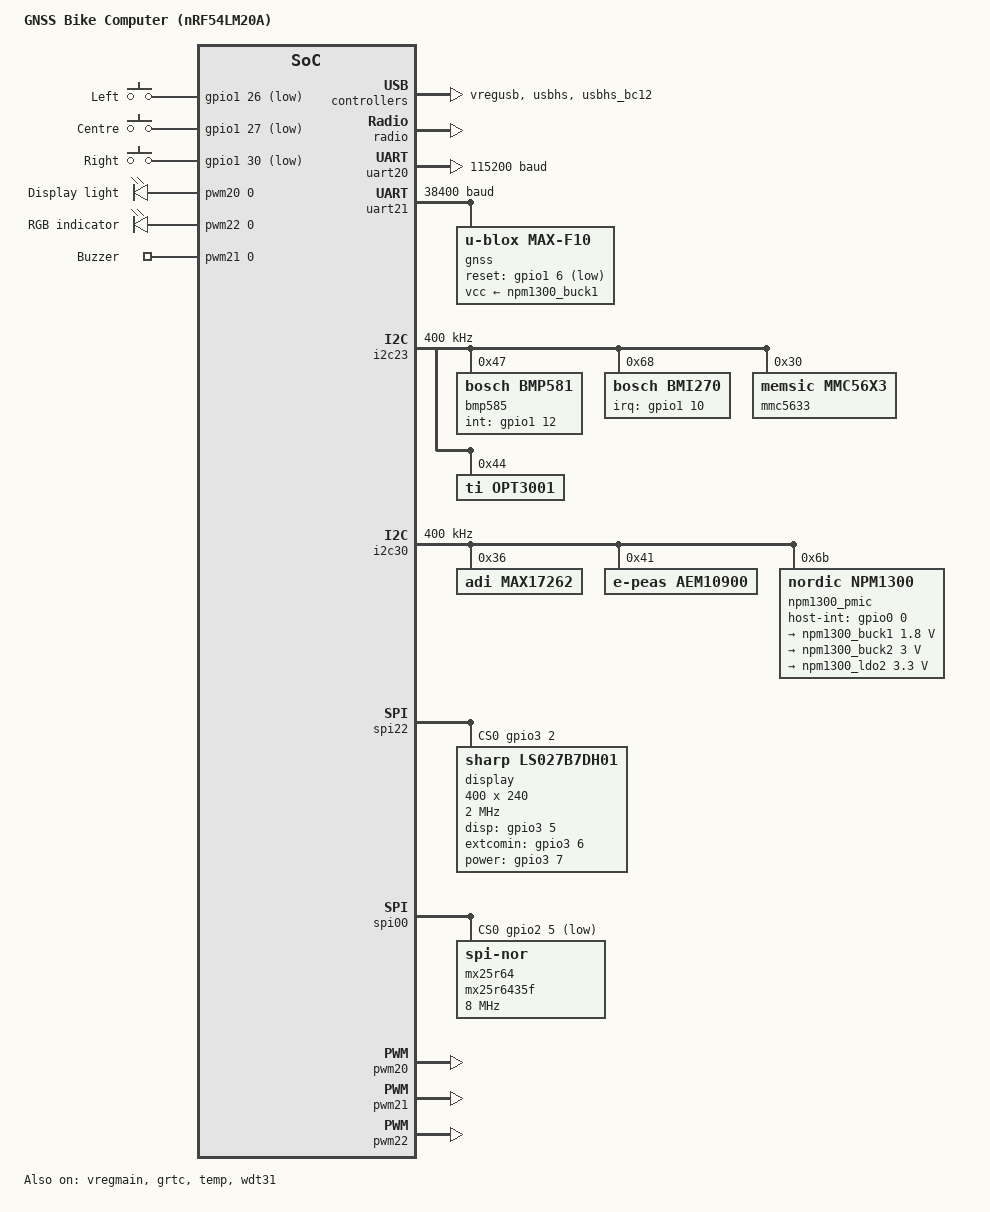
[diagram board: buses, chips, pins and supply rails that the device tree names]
/*
 * GNSS Bike Computer: the board of the project, with the nRF54LM20A on the
 * Fanstel BM20C module.
 *
 * Until now the firmware only had an overlay for the nRF54LM20 DK, which
 * puts the peripherals of this board on free pins of a development kit so
 * evaluation boards can be wired to them. This is the board itself: every
 * device the rider's computer carries, on the pins it carries them on.
 *
 * The specification it follows is `docs/14-hardware-placa-nova.md`; the pin
 * map and the two rules of the part that shape it are in
 * `gnssbike-pinctrl.dtsi`.
 *
 * > **Nothing here has been built.** The board has no schematic yet and no
 * > unit exists. What this file gives is a target that compiles and a pin
 * > map that satisfies every rule of the silicon, to be reconciled with the
 * > pinout of the BM20C module when that arrives: the module either brings
 * > a pin out or it does not, and only its own drawing says which.
 */

/dts-v1/;

#include <nordic/nrf54lm20a_cpuapp.dtsi>
#include <vendor/nordic/nrf54lm20a_cpuapp_partition.dtsi>
#include <zephyr/dt-bindings/input/input-event-codes.h>
#include <zephyr/dt-bindings/regulator/npm13xx.h>
#include <zephyr/dt-bindings/sensor/bmp581.h>
#include <zephyr/dt-bindings/pwm/pwm.h>
#include "gnssbike-pinctrl.dtsi"

/ {
	compatible = "gnss,gnssbike-nrf54lm20a-cpuapp";
	model = "GNSS Bike Computer (nRF54LM20A)";

	chosen {
		zephyr,code-partition = &slot0_partition;
		zephyr,sram = &cpuapp_sram;
		zephyr,flash-controller = &rram_controller;
		zephyr,flash = &cpuapp_rram;
		/*
		 * The console lives on two test pads and nothing else: there is
		 * no connector on the case, and a rider never sees it.
		 */
		zephyr,console = &uart20;
		zephyr,shell-uart = &uart20;
		zephyr,uart-mcumgr = &uart20;
		zephyr,display = &display;
	};

	/*
	 * The services find their hardware by these names and leave out
	 * whatever does not answer (docs/16, Serviços).
	 */
	aliases {
		gnss = &gnss;
		baro0 = &bmp585;
		imu0 = &bmi270;
		mag0 = &mmc5633;
		light0 = &opt3001;
		backlight = &light_pwm;
		backlight-supply = &npm1300_ldo2;
		fuel-gauge0 = &max17262;
		pmic = &npm1300_pmic;
		pmic-charger = &npm1300_charger;
		pmic-regulators = &npm1300_regulators;
		solar-charger = &aem10900;
		watchdog0 = &wdt31;
		buzzer = &buzzer_pwm;
		led-rgb = &rgb_pwm;
	};

	/*
	 * The three keys of the case. The centre one also reaches the SHPHLD
	 * of the nPM1300, which is what turns the device on out of ship mode
	 * and is therefore the only wake source the case needs; these GPIOs
	 * are how the firmware reads the keys while it is running.
	 */
	keys: gpio_keys {
		compatible = "gpio-keys";

		key_left: key_left {
			gpios = <&gpio1 26 (GPIO_PULL_UP | GPIO_ACTIVE_LOW)>;
			label = "Left";
			zephyr,code = <INPUT_KEY_0>;
		};

		key_centre: key_centre {
			gpios = <&gpio1 27 (GPIO_PULL_UP | GPIO_ACTIVE_LOW)>;
			label = "Centre";
			zephyr,code = <INPUT_KEY_1>;
		};

		key_right: key_right {
			gpios = <&gpio1 30 (GPIO_PULL_UP | GPIO_ACTIVE_LOW)>;
			label = "Right";
			zephyr,code = <INPUT_KEY_2>;
		};
	};

	/*
	 * Short on release before 1 s, long after 1 s held (docs/18, Botões);
	 * the interface reads the codes of this node only.
	 */
	longpress: longpress {
		compatible = "zephyr,input-longpress";
		input = <&keys>;
		input-codes = <INPUT_KEY_0>, <INPUT_KEY_1>, <INPUT_KEY_2>;
		short-codes = <INPUT_KEY_LEFT>, <INPUT_KEY_ENTER>, <INPUT_KEY_RIGHT>;
		long-codes = <INPUT_KEY_HOME>, <INPUT_KEY_MENU>, <INPUT_KEY_END>;
		long-delay-ms = <1000>;
	};

	/* Front light of the display, dimmed by the light service */
	pwmleds {
		compatible = "pwm-leds";

		light_pwm: light_pwm {
			pwms = <&pwm20 0 PWM_MSEC(1) PWM_POLARITY_NORMAL>;
			label = "Display light";
		};

		rgb_pwm: rgb_pwm {
			pwms = <&pwm22 0 PWM_MSEC(1) PWM_POLARITY_NORMAL>;
			label = "RGB indicator";
		};

		buzzer_pwm: buzzer_pwm {
			pwms = <&pwm21 0 PWM_USEC(250) PWM_POLARITY_NORMAL>;
			label = "Buzzer";
		};
	};

};

&cpuapp_sram {
	status = "okay";
};

&hfpll {
	clock-frequency = <DT_FREQ_M(128)>;
};

/* The module carries the two crystals; load capacitors are internal */
&lfxo {
	load-capacitors = "internal";
	load-capacitance-femtofarad = <17000>;
};

&hfxo {
	load-capacitors = "internal";
	load-capacitance-femtofarad = <15000>;
};

&vregmain {
	status = "okay";
	regulator-initial-mode = <NRF5X_REG_MODE_DCDC>;
};

&vregusb {
	status = "okay";
};

&grtc {
	owned-channels = <0 1 2 3 4 5 6 7 8 9 10 11>;
	child-owned-channels = <3 4 7 8 9 10 11>;
	status = "okay";
};

&clock {
	status = "okay";
};

&radio {
	status = "okay";
};

&gpio0 {
	status = "okay";
};

&gpio1 {
	status = "okay";
};

&gpio2 {
	status = "okay";
};

&gpio3 {
	status = "okay";
};

&gpiote20 {
	status = "okay";
};

&gpiote30 {
	status = "okay";
};

temp_sensor: &temp {
	status = "okay";
};

/* Hardware watchdog behind the task watchdog of the services */
&wdt31 {
	status = "okay";
};

/*
 * ---- Console on the test pads ----
 *
 * Block 20, not block 30: each serial block of this part holds one
 * peripheral, and block 30 is the I2C of the power path below.
 */
&uart20 {
	status = "okay";
	current-speed = <115200>;
	pinctrl-0 = <&uart20_default>;
	pinctrl-1 = <&uart20_sleep>;
	pinctrl-names = "default", "sleep";
};

/*
 * ---- GNSS ----
 *
 * u-blox MAX-F10S, L1 and L5 at the same time (docs/15). The receiver runs
 * at 1.8 V and the MCU at 3.0 V, so a TXU0204 sits between them with its OE
 * tied to VCCA. The part leaves the factory at 38400 baud; the driver turns
 * NMEA off and asks for one UBX-NAV-PVT and one UBX-NAV-SAT a second. The
 * footprint also takes the MAX-M10N-10B, which has LEAP; the compatible is
 * what tells the two apart.
 *
 * P1.08 (EXTINT) and P1.09 (TIMEPULSE) are wired on the board and left out
 * of this node: the driver has no property for either, and a pin that the
 * firmware cannot reach does not belong in a devicetree. They are reserved
 * so a later revision can use them without moving anything.
 */
&uart21 {
	status = "okay";
	current-speed = <38400>;
	pinctrl-0 = <&uart21_default>;
	pinctrl-1 = <&uart21_sleep>;
	pinctrl-names = "default", "sleep";

	gnss: gnss {
		compatible = "u-blox,max-f10";
		fix-rate-ms = <1000>;
		dynamic-model = "portable";
		satellites-rate = <1>;
		/*
		 * RESET_N, open drain and active low. A reset clears the
		 * backup memory of the receiver, so the driver only holds
		 * the line and never pulses it on its own.
		 */
		reset-gpios = <&gpio1 6 (GPIO_ACTIVE_LOW | GPIO_OPEN_DRAIN)>;
		vcc-supply = <&npm1300_buck1>;
	};
};

/*
 * ---- Sensors ----
 *
 * No address collides and nothing scans the bus: 0x7E would put the
 * MMC5633NJL into I3C (docs/14, Barramentos e endereços).
 */
&i2c23 {
	status = "okay";
	clock-frequency = <I2C_BITRATE_FAST>;
	pinctrl-0 = <&i2c23_default>;
	pinctrl-1 = <&i2c23_sleep>;
	pinctrl-names = "default", "sleep";

	/* Bosch BMP585 (the BMP581 driver takes its chip ID); SDO high: 0x47 */
	bmp585: bmp585@47 {
		compatible = "bosch,bmp581";
		reg = <0x47>;
		power-mode = <BMP581_DT_MODE_NORMAL>;
		odr = <BMP581_DT_ODR_10_HZ>;
		press-osr = <BMP581_DT_OVERSAMPLING_8X>;
		temp-osr = <BMP581_DT_OVERSAMPLING_2X>;
		int-gpios = <&gpio1 12 GPIO_ACTIVE_HIGH>;
	};

	/* Bosch BMI270, SDO low: 0x68. The footprint also takes an LSM6DSV16X */
	bmi270: bmi270@68 {
		compatible = "bosch,bmi270";
		reg = <0x68>;
		irq-gpios = <&gpio1 10 GPIO_ACTIVE_HIGH>;
	};

	/* Memsic MMC5633NJL, fixed address; one measurement per fetch */
	mmc5633: mmc5633@30 {
		compatible = "memsic,mmc56x3";
		reg = <0x30>;
		magn-odr = <0>;
	};

	/* TI OPT3001 ambient light, ADDR low: 0x44 */
	opt3001: opt3001@44 {
		compatible = "ti,opt3001";
		reg = <0x44>;
	};
};

/*
 * ---- Energy ----
 *
 * The three parts of the power path share one bus on port P0: the nPM1300
 * at 0x6B, the MAX17262 gauge on the cell at 0x36 and the AEM10900 solar
 * harvester at 0x41 (docs/14, Alimentação). The USB blocks the solar charge
 * in hardware, through VBUSOUT, so no pin of the MCU is spent on it.
 */
&i2c30 {
	status = "okay";
	clock-frequency = <I2C_BITRATE_FAST>;
	pinctrl-0 = <&i2c30_default>;
	pinctrl-1 = <&i2c30_sleep>;
	pinctrl-names = "default", "sleep";

	/*
	 * MAX17262 on the 2000 mAh cell: the nPM1300 charges at 600 mA and
	 * ends at 10 % of it. TH is tied to BATT, so the temperature comes
	 * from the die and no thermistor is read here.
	 */
	max17262: fuel-gauge@36 {
		compatible = "adi,max17262";
		reg = <0x36>;
		design-capacity-mah = <2000>;
		charge-term-current-ma = <60>;
		charge-voltage-mv = <4200>;
	};

	/*
	 * AEM10900, I2C_ADDR tied to I2C_VDD. Its pins alone charge to 3.90 V;
	 * with the board running, this configuration takes it to 4.05 V.
	 */
	aem10900: charger@41 {
		compatible = "e-peas,aem10900";
		reg = <0x41>;
		charge-voltage-mv = <4050>;
	};

	npm1300_pmic: pmic@6b {
		compatible = "nordic,npm1300";
		reg = <0x6b>;
		host-int-gpios = <&gpio0 0 GPIO_ACTIVE_HIGH>;
		pmic-int-pin = <3>;

		npm1300_regulators: regulators {
			compatible = "nordic,npm1300-regulator";

			/*
			 * 1V8: the GNSS VCC and its V_IO. The V_IO absolute
			 * maximum is 1.98 V, so the voltage is locked.
			 */
			npm1300_buck1: BUCK1 {
				regulator-min-microvolt = <1800000>;
				regulator-max-microvolt = <1800000>;
				regulator-boot-on;
			};

			/* 3V0: the MCU, the display and the sensors */
			npm1300_buck2: BUCK2 {
				regulator-min-microvolt = <3000000>;
				regulator-max-microvolt = <3000000>;
				regulator-always-on;
			};

			/* Load switch of the microSD, on the prototype only */
			npm1300_ldo1: LDO1 {
				regulator-initial-mode = <NPM13XX_LDSW_MODE_LDSW>;
			};

			/* 3V3BL: the display light, on only while it is lit */
			npm1300_ldo2: LDO2 {
				regulator-initial-mode = <NPM13XX_LDSW_MODE_LDO>;
				regulator-min-microvolt = <3300000>;
				regulator-max-microvolt = <3300000>;
			};
		};

		/*
		 * 600 mA (0.3C of the cell), end at 4.20 V and at 60 mA, 500 mA
		 * from VBUS until the USB-C source says it can give more, JEITA
		 * with the 10k B3380 thermistor of the pack.
		 */
		npm1300_charger: charger {
			compatible = "nordic,npm1300-charger";
			term-microvolt = <4200000>;
			current-microamp = <600000>;
			dischg-limit-microamp = <1000000>;
			vbus-limit-microamp = <500000>;
			thermistor-ohms = <10000>;
			thermistor-beta = <3380>;
			charging-enable;
		};
	};
};

/*
 * ---- Display ----
 *
 * Sharp LS027B7DH01A, 400 x 240 monochrome, drawn in portrait by the driver
 * of `modules/gnss_drivers`. It runs from 5 V, made by a REG710 that this
 * pin enables. The same connector takes the JDI LPM027M128C in eight
 * colours at 3.0 V, whose compatible is "jdi,lpm027m128b" and which needs
 * no regulator: changing the panel is changing these two lines.
 *
 * EXTMODE is high on the panel side, so the COM inverts on the rising edges
 * of EXTCOMIN. Timing (datasheet 4.2): 1 MHz typical and 2 MHz at most,
 * chip select active high.
 */
&spi22 {
	status = "okay";
	cs-gpios = <&gpio3 2 GPIO_ACTIVE_HIGH>;
	pinctrl-0 = <&spi22_default>;
	pinctrl-1 = <&spi22_sleep>;
	pinctrl-names = "default", "sleep";

	display: display@0 {
		compatible = "sharp,ls027b7dh01";
		reg = <0>;
		spi-max-frequency = <2000000>;
		spi-cs-setup-delay-ns = <3000>;
		spi-cs-hold-delay-ns = <1000>;
		width = <400>;
		height = <240>;
		disp-gpios = <&gpio3 5 GPIO_ACTIVE_HIGH>;
		extcomin-gpios = <&gpio3 6 GPIO_ACTIVE_HIGH>;
		power-gpios = <&gpio3 7 GPIO_ACTIVE_HIGH>;
	};
};

/*
 * ---- Storage ----
 *
 * The card socket left the board in 2026-09-20 (decision of the owner: a
 * soldered part costs less than the whole of the storage is worth). The
 * MX25R6435F takes its place: 8 MB, 3.1 mA to erase a sector in its ultra
 * low power mode against the 20 mA of the usual parts, and 7 nA in deep
 * power down. There is no card socket here, and no place left for one: a
 * board file describes one board, and this is the one that gets made. A
 * prototype that wants a card puts it in an overlay of its own, on the free
 * chip select of P2.03.
 *
 * The partition table of this part, and the disk mounted on it, live in the
 * application overlay and not here: MCUboot is built from this same board
 * file, it has no SPI NOR driver in it, and a `fixed-partitions` node would
 * put the chip into its flash map and leave the link with a device that
 * does not exist.
 */
&spi00 {
	status = "okay";
	pinctrl-0 = <&spi00_default>;
	pinctrl-1 = <&spi00_sleep>;
	pinctrl-names = "default", "sleep";
	cs-gpios = <&gpio2 5 GPIO_ACTIVE_LOW>;	/* the NOR flash, alone */

	mx25r64: mx25r6435f@0 {
		compatible = "jedec,spi-nor";
		reg = <0>;
		spi-max-frequency = <8000000>;
		jedec-id = [c2 28 17];
		sfdp-bfp = [
			e5 20 f1 ff  ff ff ff 03  44 eb 08 6b  08 3b 04 bb
			ee ff ff ff  ff ff 00 ff  ff ff 00 ff  0c 20 0f 52
			10 d8 00 ff  23 72 f5 00  82 ed 04 cc  44 83 68 44
			30 b0 30 b0  f7 c4 d5 5c  00 be 29 ff  f0 d0 ff ff
		];
		size = <67108864>;
		has-dpd;
		t-enter-dpd = <10000>;
		t-exit-dpd = <35000>;
		mxicy,mx25r-power-mode = "low-power";
	};
};

/* ---- Light, buzzer and indicator ---- */
&pwm20 {
	status = "okay";
	pinctrl-0 = <&pwm20_default>;
	pinctrl-1 = <&pwm20_sleep>;
	pinctrl-names = "default", "sleep";
};

&pwm21 {
	status = "okay";
	pinctrl-0 = <&pwm21_default>;
	pinctrl-1 = <&pwm21_sleep>;
	pinctrl-names = "default", "sleep";
};

&pwm22 {
	status = "okay";
	pinctrl-0 = <&pwm22_default>;
	pinctrl-1 = <&pwm22_sleep>;
	pinctrl-names = "default", "sleep";
};

/*
 * ---- USB ----
 *
 * The serial of the commands and the rider's disk on the PC (docs/09). The
 * connector is the sealed USB-C of the case.
 */
zephyr_udc0: &usbhs {
	status = "okay";

	cdc_acm_uart0: cdc_acm_uart0 {
		compatible = "zephyr,cdc-acm-uart";
	};
};

&usbhs_bc12 {
	status = "okay";
};
